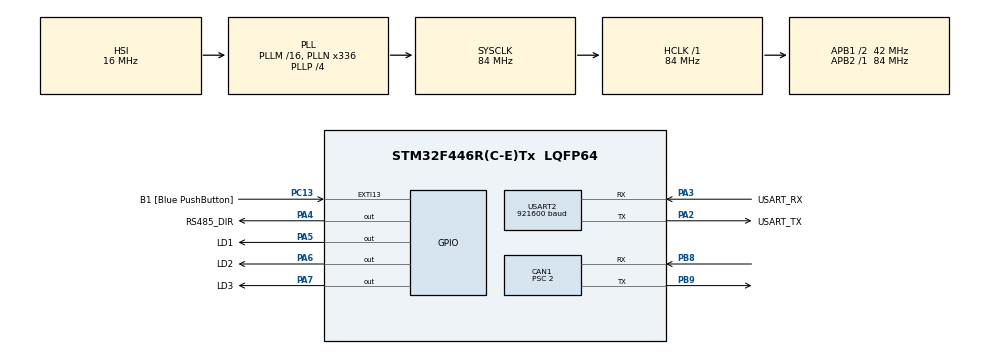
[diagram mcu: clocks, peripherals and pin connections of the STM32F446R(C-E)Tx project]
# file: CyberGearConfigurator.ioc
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CAN1.BS1=CAN_BS1_12TQ
CAN1.BS2=CAN_BS2_8TQ
CAN1.CalculateBaudRate=1000000
CAN1.CalculateTimeBit=1000
CAN1.CalculateTimeQuantum=47.61904761904762
CAN1.Prescaler=2
CAN1.SJW=CAN_SJW_1TQ
Mcu.Family=STM32F4
Mcu.Name=STM32F446R(C-E)Tx
Mcu.Package=LQFP64
NVIC.CAN1_RX0_IRQn=true\:0\:0\:false\:false\:true\:true\:true\:true
NVIC.PriorityGroup=NVIC_PRIORITYGROUP_0
NVIC.USART2_IRQn=true\:0\:0\:false\:false\:true\:true\:true\:true
PA0-WKUP.Signal=UART4_TX
PA1.Signal=UART4_RX
PA13.GPIO_Label=TMS
PA13.Mode=Serial_Wire
PA13.Signal=SYS_JTMS-SWDIO
PA14.GPIO_Label=TCK
PA14.Mode=Serial_Wire
PA14.Signal=SYS_JTCK-SWCLK
PA2.GPIO_Label=USART_TX
PA2.Mode=Asynchronous
PA2.Signal=USART2_TX
PA3.GPIO_Label=USART_RX
PA3.Mode=Asynchronous
PA3.Signal=USART2_RX
PA4.GPIO_Label=RS485_DIR
PA4.Signal=GPIO_Output
PA5.GPIO_Label=LD1
PA5.Signal=GPIO_Output
PA6.GPIO_Label=LD2
PA6.Signal=GPIO_Output
PA7.GPIO_Label=LD3
PA7.Signal=GPIO_Output
PB8.Mode=CAN_Activate
PB8.Signal=CAN1_RX
PB9.Mode=CAN_Activate
PB9.Signal=CAN1_TX
PC13.GPIO_Label=B1 [Blue PushButton]
PC13.GPIO_ModeDefaultEXTI=GPIO_MODE_IT_FALLING
PC13.Signal=GPXTI13
PH0-OSC_IN.Mode=HSE-External-Oscillator
PH0-OSC_IN.Signal=RCC_OSC_IN
PH1-OSC_OUT.Mode=HSE-External-Oscillator
PH1-OSC_OUT.Signal=RCC_OSC_OUT
ProjectManager.HeapSize=0x2000
ProjectManager.StackSize=0x4000
ProjectManager.TargetToolchain=STM32CubeIDE
RCC.48MHZClocksFreq_Value=84000000
RCC.AHBFreq_Value=84000000
RCC.APB1CLKDivider=RCC_HCLK_DIV2
RCC.APB1Freq_Value=42000000
RCC.APB1TimFreq_Value=84000000
RCC.APB2Freq_Value=84000000
RCC.APB2TimFreq_Value=84000000
RCC.CortexFreq_Value=84000000
RCC.FLatency-AdvancedSettings=FLASH_LATENCY_2
RCC.HCLKFreq_Value=84000000
RCC.HSE_VALUE=8000000
RCC.HSI_VALUE=16000000
RCC.PLLN=336
RCC.PLLP=RCC_PLLP_DIV4
RCC.SYSCLKFreq_VALUE=84000000
RCC.SYSCLKSource=RCC_SYSCLKSOURCE_PLLCLK
RCC.USBFreq_Value=168000000
RCC.VCOOutputFreq_Value=336000000
USART2.BaudRate=921600
USART2.VirtualMode=VM_ASYNC
board=NUCLEO-F446RE

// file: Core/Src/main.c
/* USER CODE BEGIN Header */
/**
  ******************************************************************************
  * @file           : main.c
  * @brief          : Main program body
  ******************************************************************************
  * @attention
  *
  * Copyright (c) 2022 STMicroelectronics.
  * All rights reserved.
  *
  * This software is licensed under terms that can be found in the LICENSE file
  * in the root directory of this software component.
  * If no LICENSE file comes with this software, it is provided AS-IS.
  *
  ******************************************************************************
  */
/* USER CODE END Header */
#include "main.h"

/* USER CODE BEGIN Includes */
#include "string.h"
#include <stdbool.h>

/* USER CODE END Includes */

/* USER CODE BEGIN PD */
#define P_MIN  -12.5f     // min angle (or -4π or some doc example)
#define P_MAX  12.5f      // max angle
#define V_MIN  -30.0f
#define V_MAX   30.0f
#define KP_MIN  0.0f
#define KP_MAX  500.0f
#define KD_MIN  0.0f
#define KD_MAX  5.0f
#define T_MIN  -12.0f
#define T_MAX   12.0f

/* USER CODE END PD */

CAN_HandleTypeDef hcan1;

UART_HandleTypeDef huart2;

/* USER CODE BEGIN PV */

CAN_TxHeaderTypeDef pTxHeader;
CAN_RxHeaderTypeDef pRxHeader;
CAN_FilterTypeDef sFilterConfig;
uint32_t pTxMailbox;

uint8_t received_data[8];
// UART
char RxUARTBuffer[256]="";
uint8_t RxUARTLength=0;
uint8_t RxSingleByte;
uint8_t onFlag = 0;
float angle = 0.0f;
int toggle = 0;
uint16_t angle_u;

// initial target angle. Value should be 6.28... for a full rotation
volatile float targetAngle = 1.0f;

// We'll define prototypes for param writes, enabling motor, etc.
// We'll place the actual code in USER CODE BEGIN 4, but these must be declared first.
HAL_StatusTypeDef writeParameter(uint16_t paramIndex, const volatile void* paramValue,
                                 uint8_t hostID, uint8_t motorID);

HAL_StatusTypeDef getMotorDeviceID(uint8_t hostID, uint8_t motorID);
HAL_StatusTypeDef clearMotorFault(uint8_t hostID, uint8_t motorID);

HAL_StatusTypeDef motorEnable(uint8_t hostID, uint8_t motorID);
HAL_StatusTypeDef motorStop(uint8_t hostID, uint8_t motorID);
void testMotor(void);

// We'll do a simple function that sets position mode and moves the motor

HAL_StatusTypeDef motorControlMode(uint8_t hostID, uint8_t motorID,
                                   float torque, float position,
                                   float velocity, float kp, float kd);

HAL_StatusTypeDef motorControlFrame(
    uint8_t  motorID,        // bits 7..0 in extended ID
    float    torque,         // –12..+12 Nm
    float    angle,          // e.g. –4..+4 rad
    float    velocity,       // e.g. –30..+30 rad/s
    float    kp,             // 0..500
    float    kd              // 0..5
);
/* USER CODE END PV */

/* USER CODE END PV */

void SystemClock_Config(void);
static void MX_GPIO_Init(void);
static void MX_USART2_UART_Init(void);
static void MX_CAN1_Init(void);
/* USER CODE BEGIN PFP */
void HAL_CAN_RxFifo0MsgPendingCallback(CAN_HandleTypeDef *hcan);
void serialWrite(char data[]);
void serialProcessRxData();
void HAL_UART_RxCpltCallback(UART_HandleTypeDef *huart);
static uint16_t float_to_uint(float x, float x_min, float x_max);

/* USER CODE END PFP */

int main(void)
{

  /* MCU Configuration--------------------------------------------------------*/

  /* Reset of all peripherals, Initializes the Flash interface and the Systick. */
  HAL_Init();

  /* Configure the system clock */
  SystemClock_Config();

  /* Initialize all configured peripherals */
  MX_GPIO_Init();
  MX_USART2_UART_Init();
  MX_CAN1_Init();
  /* USER CODE BEGIN 2 */
  // UART
  __HAL_UART_ENABLE_IT(&huart2, UART_IT_TC);
  __HAL_UART_ENABLE_IT(&huart2, UART_IT_RXNE);
  HAL_UART_Receive_IT(&huart2, &RxSingleByte, 1);
  char buffer[11] = "CyberGear Serial CAN Receiver\n";
  HAL_UART_Transmit_IT(&huart2,(uint8_t *) buffer, 11);
  // CAN
  // 1) Configure the CAN filter to accept *all* extended frames
  CAN_FilterTypeDef sFilterConfig;
  sFilterConfig.FilterBank = 0;
  sFilterConfig.FilterMode = CAN_FILTERMODE_IDMASK;
  sFilterConfig.FilterScale = CAN_FILTERSCALE_32BIT;
  sFilterConfig.FilterIdHigh = 0x0000;
  sFilterConfig.FilterIdLow  = 0x0000;
  sFilterConfig.FilterMaskIdHigh = 0x0000;
  sFilterConfig.FilterMaskIdLow  = 0x0000;
  sFilterConfig.FilterFIFOAssignment = CAN_FILTER_FIFO0;
  sFilterConfig.FilterActivation = ENABLE;
  sFilterConfig.SlaveStartFilterBank = 14;
  HAL_CAN_ConfigFilter(&hcan1, &sFilterConfig);

  // 2) Start CAN
  HAL_CAN_Start(&hcan1);

  // 3) Optionally enable Rx interrupt
  HAL_CAN_ActivateNotification(&hcan1, CAN_IT_RX_FIFO0_MSG_PENDING);

  HAL_NVIC_SetPriority(CAN1_RX0_IRQn, 0, 0);
  HAL_NVIC_EnableIRQ(CAN1_RX0_IRQn);
  getMotorDeviceID(0xFE, 0x7F);   // type=0 request

	  // 1) Clear fault
	  //clearMotorFault(0xFE, 0x7F);
	  //HAL_Delay(20);

	  //motorEnable(0xFE, 0x7F);  // type=3
	  //HAL_Delay(10);

	  testMotor();
  /* USER CODE END 2 */

  /* Infinite loop */
  while (1)
  {

  }
}

void SystemClock_Config(void)
{
  RCC_OscInitTypeDef RCC_OscInitStruct = {0};
  RCC_ClkInitTypeDef RCC_ClkInitStruct = {0};

  /** Configure the main internal regulator output voltage
  */
  __HAL_RCC_PWR_CLK_ENABLE();
  __HAL_PWR_VOLTAGESCALING_CONFIG(PWR_REGULATOR_VOLTAGE_SCALE3);

  /** Initializes the RCC Oscillators according to the specified parameters
  * in the RCC_OscInitTypeDef structure.
  */
  RCC_OscInitStruct.OscillatorType = RCC_OSCILLATORTYPE_HSI;
  RCC_OscInitStruct.HSIState = RCC_HSI_ON;
  RCC_OscInitStruct.HSICalibrationValue = RCC_HSICALIBRATION_DEFAULT;
  RCC_OscInitStruct.PLL.PLLState = RCC_PLL_ON;
  RCC_OscInitStruct.PLL.PLLSource = RCC_PLLSOURCE_HSI;
  RCC_OscInitStruct.PLL.PLLM = 16;
  RCC_OscInitStruct.PLL.PLLN = 336;
  RCC_OscInitStruct.PLL.PLLP = RCC_PLLP_DIV4;
  RCC_OscInitStruct.PLL.PLLQ = 2;
  RCC_OscInitStruct.PLL.PLLR = 2;
  if (HAL_RCC_OscConfig(&RCC_OscInitStruct) != HAL_OK)
  {
    Error_Handler();
  }

  /** Initializes the CPU, AHB and APB buses clocks
  */
  RCC_ClkInitStruct.ClockType = RCC_CLOCKTYPE_HCLK|RCC_CLOCKTYPE_SYSCLK
                              |RCC_CLOCKTYPE_PCLK1|RCC_CLOCKTYPE_PCLK2;
  RCC_ClkInitStruct.SYSCLKSource = RCC_SYSCLKSOURCE_PLLCLK;
  RCC_ClkInitStruct.AHBCLKDivider = RCC_SYSCLK_DIV1;
  RCC_ClkInitStruct.APB1CLKDivider = RCC_HCLK_DIV2;
  RCC_ClkInitStruct.APB2CLKDivider = RCC_HCLK_DIV1;

  if (HAL_RCC_ClockConfig(&RCC_ClkInitStruct, FLASH_LATENCY_2) != HAL_OK)
  {
    Error_Handler();
  }
}

static void MX_CAN1_Init(void)
{

  hcan1.Instance = CAN1;
  hcan1.Init.Prescaler = 2;
  hcan1.Init.Mode = CAN_MODE_NORMAL;
  hcan1.Init.SyncJumpWidth = CAN_SJW_1TQ;
  hcan1.Init.TimeSeg1 = CAN_BS1_12TQ;
  hcan1.Init.TimeSeg2 = CAN_BS2_8TQ;
  hcan1.Init.TimeTriggeredMode = DISABLE;
  hcan1.Init.AutoBusOff = DISABLE;
  hcan1.Init.AutoWakeUp = DISABLE;
  hcan1.Init.AutoRetransmission = DISABLE;
  hcan1.Init.ReceiveFifoLocked = DISABLE;
  hcan1.Init.TransmitFifoPriority = DISABLE;
  if (HAL_CAN_Init(&hcan1) != HAL_OK)
  {
    Error_Handler();
  }

}

static void MX_USART2_UART_Init(void)
{

  huart2.Instance = USART2;
  huart2.Init.BaudRate = 921600;
  huart2.Init.WordLength = UART_WORDLENGTH_8B;
  huart2.Init.StopBits = UART_STOPBITS_1;
  huart2.Init.Parity = UART_PARITY_NONE;
  huart2.Init.Mode = UART_MODE_TX_RX;
  huart2.Init.HwFlowCtl = UART_HWCONTROL_NONE;
  huart2.Init.OverSampling = UART_OVERSAMPLING_16;
  if (HAL_UART_Init(&huart2) != HAL_OK)
  {
    Error_Handler();
  }

}

static void MX_GPIO_Init(void)
{
  GPIO_InitTypeDef GPIO_InitStruct = {0};

  /* GPIO Ports Clock Enable */
  __HAL_RCC_GPIOC_CLK_ENABLE();
  __HAL_RCC_GPIOH_CLK_ENABLE();
  __HAL_RCC_GPIOA_CLK_ENABLE();
  __HAL_RCC_GPIOB_CLK_ENABLE();

  /*Configure GPIO pin Output Level */
  HAL_GPIO_WritePin(GPIOA, RS485_DIR_Pin|LD1_Pin|LD2_Pin|LD3_Pin, GPIO_PIN_RESET);

  /*Configure GPIO pin : B1_Pin */
  GPIO_InitStruct.Pin = B1_Pin;
  GPIO_InitStruct.Mode = GPIO_MODE_IT_FALLING;
  GPIO_InitStruct.Pull = GPIO_NOPULL;
  HAL_GPIO_Init(B1_GPIO_Port, &GPIO_InitStruct);

  /*Configure GPIO pins : PA0 PA1 */
  GPIO_InitStruct.Pin = GPIO_PIN_0|GPIO_PIN_1;
  GPIO_InitStruct.Mode = GPIO_MODE_AF_PP;
  GPIO_InitStruct.Pull = GPIO_NOPULL;
  GPIO_InitStruct.Speed = GPIO_SPEED_FREQ_VERY_HIGH;
  GPIO_InitStruct.Alternate = GPIO_AF8_UART4;
  HAL_GPIO_Init(GPIOA, &GPIO_InitStruct);

  /*Configure GPIO pins : RS485_DIR_Pin LD1_Pin LD2_Pin LD3_Pin */
  GPIO_InitStruct.Pin = RS485_DIR_Pin|LD1_Pin|LD2_Pin|LD3_Pin;
  GPIO_InitStruct.Mode = GPIO_MODE_OUTPUT_PP;
  GPIO_InitStruct.Pull = GPIO_NOPULL;
  GPIO_InitStruct.Speed = GPIO_SPEED_FREQ_LOW;
  HAL_GPIO_Init(GPIOA, &GPIO_InitStruct);

}

/* USER CODE BEGIN 4 */

#include <string.h>  // for memcpy

/**
 * Write a 4-byte parameter at index paramIndex (e.g. 0x7005 for run_mode).
 *   paramValue must point to 4 bytes (e.g. float).
 *   type=18 (0x12) in bits28..24
 */
HAL_StatusTypeDef writeParameter(uint16_t paramIndex, const volatile void* paramValue,
                                 uint8_t hostID, uint8_t motorID)

{
    CAN_TxHeaderTypeDef txHeader;
    uint32_t txMailbox;
    uint8_t txData[8] = {0};

    // Build extended ID => (type=18)
    uint32_t extId = ((uint32_t)0x12 << 24)
                   | ((uint32_t)hostID << 8)
                   | (uint32_t)motorID;

    txHeader.ExtId = extId;
    txHeader.IDE   = CAN_ID_EXT;
    txHeader.RTR   = CAN_RTR_DATA;
    txHeader.DLC   = 8;
    txHeader.TransmitGlobalTime = DISABLE;

    // Byte0..1 = paramIndex (little-endian)
    txData[0] = (uint8_t)(paramIndex & 0xFF);
    txData[1] = (uint8_t)(paramIndex >> 8);
    // Byte2..3 = 0
    // Byte4..7 = paramValue
    memcpy(&txData[4], paramValue, 4);

    return HAL_CAN_AddTxMessage(&hcan1, &txHeader, txData, &txMailbox);
}

/**
 * Enable motor => type=3
 */
HAL_StatusTypeDef motorEnable(uint8_t hostID, uint8_t motorID)
{
    CAN_TxHeaderTypeDef txHeader;
    uint8_t txData[8] = {0};
    uint32_t txMailbox;

    uint32_t extId = ((uint32_t)3 << 24) |
                     ((uint32_t)hostID << 8) |
                     motorID;

    txHeader.ExtId = extId;
    txHeader.IDE   = CAN_ID_EXT;
    txHeader.RTR   = CAN_RTR_DATA;
    txHeader.DLC   = 8;
    txHeader.TransmitGlobalTime = DISABLE;

    return HAL_CAN_AddTxMessage(&hcan1, &txHeader, txData, &txMailbox);
}

/**
 * Stop motor => type=4
 */
HAL_StatusTypeDef motorStop(uint8_t hostID, uint8_t motorID)
{
    CAN_TxHeaderTypeDef txHeader;
    uint8_t txData[8] = {0};
    uint32_t txMailbox;

    uint32_t extId = ((uint32_t)4 << 24) |
                     ((uint32_t)hostID << 8) |
                     motorID;

    txHeader.ExtId = extId;
    txHeader.IDE   = CAN_ID_EXT;
    txHeader.RTR   = CAN_RTR_DATA;
    txHeader.DLC   = 8;
    txHeader.TransmitGlobalTime = DISABLE;

    // data[0] = 1 => if you want to clear faults, else 0
    // txData[0] = 1;

    return HAL_CAN_AddTxMessage(&hcan1, &txHeader, txData, &txMailbox);
}

/**
 * Ask the motor for its device ID => type=0
 * The motor (if it hears this) should respond with type=0,
 * data=64-bit unique MCU ID, or an info frame.
 */
HAL_StatusTypeDef getMotorDeviceID(uint8_t hostID, uint8_t motorID)
{
    CAN_TxHeaderTypeDef txHeader;
    uint32_t txMailbox;
    uint8_t txData[8] = {0};

    // 0 in bits28..24 => get device ID
    uint32_t extId = ((uint32_t)0 << 24)
                   | ((uint32_t)hostID << 8)
                   | (uint32_t)motorID;

    txHeader.ExtId = extId;
    txHeader.IDE   = CAN_ID_EXT;     // extended frame
    txHeader.RTR   = CAN_RTR_DATA;
    txHeader.DLC   = 8;
    txHeader.TransmitGlobalTime = DISABLE;

    // Typically data can be all 0
    memset(txData, 0, 8);

    return HAL_CAN_AddTxMessage(&hcan1, &txHeader, txData, &txMailbox);
}

HAL_StatusTypeDef clearMotorFault(uint8_t hostID, uint8_t motorID)
{
    CAN_TxHeaderTypeDef txHeader;
    uint32_t txMailbox;
    uint8_t txData[8] = {0};

    // 4 in bits28..24 => Stop command
    uint32_t extId = ((uint32_t)4 << 24)
                   | ((uint32_t)hostID << 8)
                   | (uint32_t)motorID;

    txHeader.ExtId = extId;
    txHeader.IDE   = CAN_ID_EXT;     // extended frame
    txHeader.RTR   = CAN_RTR_DATA;
    txHeader.DLC   = 8;
    txHeader.TransmitGlobalTime = DISABLE;

    // data[0] = 1 => clear fault
    txData[0] = 1;

    return HAL_CAN_AddTxMessage(&hcan1, &txHeader, txData, &txMailbox);
}

void HAL_CAN_RxFifo0MsgPendingCallback(CAN_HandleTypeDef *hcan)
{
    HAL_StatusTypeDef status;
    status = HAL_CAN_GetRxMessage(hcan, CAN_RX_FIFO0, &pRxHeader, received_data);
    if (status != HAL_OK)
    {
        // Error reading the message
        return;
    }

    uint32_t extId = pRxHeader.ExtId;
    uint8_t type   = (extId >> 24) & 0x1F;   // bits28..24
    uint8_t motorID= extId & 0xFF;          // bits7..0

    // For debug, print the entire extended ID
    char dbg[128];
    sprintf(dbg, "RX: ExtId=0x%08lX (type=%u, motorID=%u), DLC=%u\n",
            (unsigned long)extId, (unsigned)type, (unsigned)motorID, pRxHeader.DLC);
    serialWrite(dbg);

    // Check what type we received
    if (type == 2)
    {
        // This is typically the motor feedback frame
        // Byte0..1 might be current angle, Byte2..3 velocity, Byte4..5 torque, Byte6..7 temperature, etc.
        sprintf(dbg, "Received type=2 (feedback) from motorID=%u\n", (unsigned)motorID);
        serialWrite(dbg);

        // Optionally parse the data
        // e.g. parse angle:
        angle_u = (received_data[0] << 8) | received_data[1];
        // etc. Then print or store
    }
    else if (type == 21)
    {
        // This is typically the fault/error frame
        // Byte0..3 might be a fault code
        sprintf(dbg, "Received type=21 (fault) from motorID=%u\n", (unsigned)motorID);
        serialWrite(dbg);

        // Optionally parse the fault code in received_data[0..3]
        // For example:
        uint32_t fault = (received_data[0])
                       | (received_data[1] << 8)
                       | (received_data[2] << 16)
                       | (received_data[3] << 24);
        sprintf(dbg, "Fault code = 0x%08lX\n", (unsigned long)fault);
        serialWrite(dbg);
    }
    else if (type == 0)
    {
        // Possibly a "Get Device ID" response
        sprintf(dbg, "Received type=0 (device info) from motorID=%u\n", (unsigned)motorID);
        serialWrite(dbg);
        // The data bytes may contain the 64-bit unique ID
    }
    else
    {
        // Some other type
        sprintf(dbg, "Received unknown type=%u from motorID=%u\n",
                (unsigned)type, (unsigned)motorID);
        serialWrite(dbg);
    }
}

void testMotor(void)
{
    // 1) Clear fault
    clearMotorFault(/*hostID=*/0x00, /*motorID=*/0x7F);
    HAL_Delay(20);

    // 2) Enable motor
    motorEnable(/*hostID=*/0x00, /*motorID=*/0x7F);
    HAL_Delay(20);

    // 2) Put motor in position mode
    uint8_t runMode = 1; // 1 => position mode
    writeParameter(0x7005, &runMode, /*hostID=*/0xFE, /*motorID=*/0x7F);

    float speedLimit = 1.0f; // e.g. 1 rad/s
    writeParameter(0x7017, &speedLimit, 0xFE, 0x7F);
    HAL_Delay(10);

    // 3) Send repeated frames in a loop
    while(1)
    {

    	writeParameter(0x7016, &targetAngle, 0xFE, 0x7F);

        HAL_Delay(10); // ~100 Hz
    }
}

void serialWrite(char data[]){
	HAL_UART_Transmit(&huart2, (uint8_t *) data, strlen(data), 10);
	HAL_UART_Transmit(&huart2,(uint8_t *)"\n",1,10);
}

void serialProcessRxData(){

}

void HAL_UART_RxCpltCallback(UART_HandleTypeDef *huart)
{
	if(huart->Instance == USART2){

	}
}

/*
 * Function used for MIT control.
 */
static uint16_t float_to_uint(float x, float x_min, float x_max)
{
    // Clamp x into [x_min, x_max]
    if(x < x_min) x = x_min;
    if(x > x_max) x = x_max;

    float span = (x_max - x_min);
    float offset = (x - x_min);

    // Scale into [0..65535]
    // The Xiaomi snippet does:
    //   (x - offset)*(65535.0f)/span
    // but we can do something like:
    return (uint16_t)((offset * 65535.0f) / span + 0.5f);
}

/* USER CODE END 4 */

void Error_Handler(void)
{
  __disable_irq();
  while (1)
  {
  }
}
